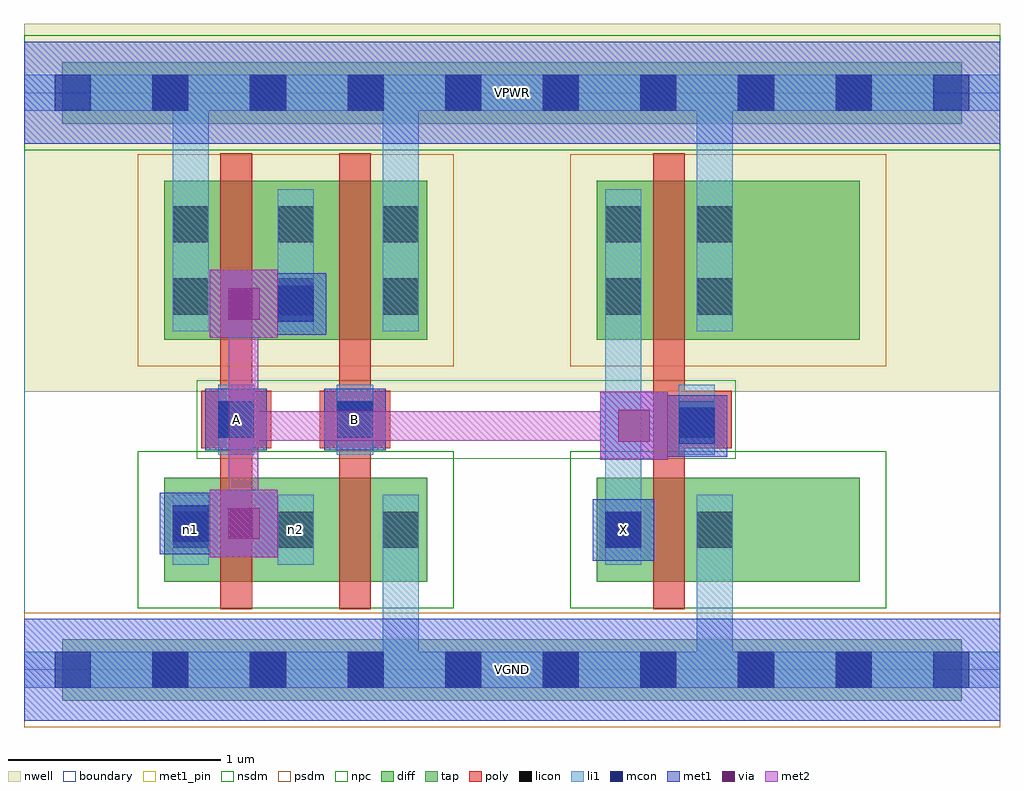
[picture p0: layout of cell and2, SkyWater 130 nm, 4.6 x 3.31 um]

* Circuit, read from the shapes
.subckt and2 A B VGND VPWR X n1 n2
XM1 n2 A n1 VGND sky130_fd_pr__nfet_01v8 w=0.49 l=0.15
XM2 VGND B n2 VGND sky130_fd_pr__nfet_01v8 w=0.49 l=0.15
XM3 VGND n1 X VGND sky130_fd_pr__nfet_01v8 w=0.49 l=0.15
XM4 n1 A VPWR VPWR sky130_fd_pr__pfet_01v8 w=0.75 l=0.15
XM5 VPWR B n1 VPWR sky130_fd_pr__pfet_01v8 w=0.75 l=0.15
XM6 VPWR n1 X VPWR sky130_fd_pr__pfet_01v8 w=0.75 l=0.15
.ends

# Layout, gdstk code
import gdstk
lib = gdstk.Library(unit=1e-6, precision=1e-09)
def R(c, l, rs):  # rectangles x0, y0, x1, y1
    for r in rs: c.add(gdstk.rectangle(r[:2], r[2:], *l))
def A(c, l, x, y, w, h, nx, ny, dx, dy):  # array of equal rectangles
    R(c, l, [(x+i*dx, y+j*dy, x+i*dx+w, y+j*dy+h) for i in range(nx) for j in range(ny)])
nwell = (64, 20)
diff = (65, 20)
tap = (65, 44)
poly = (66, 20)
licon = (66, 44)
li1 = (67, 20)
mcon = (67, 44)
met1_pin = (68, 16)
met1 = (68, 20)
via = (68, 44)
met2 = (69, 20)
nsdm = (93, 44)
psdm = (94, 20)
npc = (95, 20)
boundary = (235, 4)

and2 = lib.new_cell('and2')
R(and2, nwell, [(0,1.31,4.6,3.045)])
R(and2, diff, [(0.66,0.415,1.9,0.905), (2.7,0.415,3.94,0.905), (0.66,1.555,1.9,2.305), (2.7,1.555,3.94,2.305)])
R(and2, tap, [(0.18,-0.145,4.42,0.145), (0.18,2.575,4.42,2.865)])
R(and2, poly, [(0.925,0.285,1.075,2.435), (1.485,0.285,1.635,2.435), (2.965,0.285,3.115,2.435), (0.835,1.045,1.165,1.315), (1.395,1.045,1.725,1.315), (3.005,1.045,3.335,1.315)])
A(and2, licon, 0.605, -0.085, 0.17, 0.17, 8, 2, 0.46, 2.72)
A(and2, licon, 0.7, 0.575, 0.17, 0.17, 3, 2, 0.495, 1.1)
A(and2, licon, 0.7, 2.015, 0.17, 0.17, 3, 1, 0.495, 0)
R(and2, licon, [(2.74,0.575,2.91,0.745), (3.17,0.575,3.34,0.745), (0.915,1.095,1.085,1.265), (1.475,1.095,1.645,1.265), (3.085,1.095,3.255,1.265), (2.74,1.675,2.91,1.845), (3.17,1.675,3.34,1.845), (2.74,2.015,2.91,2.185), (3.17,2.015,3.34,2.185)])
A(and2, li1, 0.7, 0.495, 0.17, 0.33, 3, 1, 0.495, 0)
A(and2, li1, 0.7, 1.595, 0.17, 0.67, 3, 1, 0.495, 0)
R(and2, li1, [(0,-0.085,4.6,0.085), (1.69,-0.085,1.86,0.825), (3.17,-0.085,3.34,0.825), (2.74,0.495,2.91,0.825), (2.74,0.495,2.91,2.265), (3.17,0.495,3.34,0.825), (0.915,1.015,1.085,1.345), (1.475,1.015,1.645,1.345), (3.085,1.015,3.255,1.345), (0.7,1.595,0.87,2.805), (1.69,1.595,1.86,2.805), (2.74,1.595,2.91,2.265), (3.17,1.595,3.34,2.265), (3.17,1.595,3.34,2.805), (0,2.635,4.6,2.805)])
A(and2, mcon, 0.145, -0.085, 0.17, 0.17, 10, 2, 0.46, 2.72)
R(and2, mcon, [(2.74,0.575,2.91,0.745), (0.7,0.605,0.87,0.775), (3.085,1.065,3.255,1.235), (0.915,1.095,1.085,1.265), (1.475,1.095,1.645,1.265), (1.195,1.64,1.365,1.81)])
R(and2, met1_pin, [(0,-0.24,4.6,0.24), (2.68,0.515,2.97,0.805), (0.855,1.035,1.145,1.325), (1.415,1.035,1.705,1.325), (0,2.48,4.6,2.96)])
R(and2, met1, [(0,-0.24,4.6,0.24), (2.68,0.515,2.97,0.805), (0.875,0.53,1.195,0.85), (0.64,0.545,0.93,0.835), (0.715,0.62,0.99,0.76), (0.85,0.62,1.105,0.76), (2.715,0.99,3.035,1.31), (3.025,1.005,3.315,1.295), (0.855,1.035,1.145,1.325), (1.415,1.035,1.705,1.325), (2.805,1.08,3.06,1.22), (2.92,1.08,3.24,1.22), (0.875,1.565,1.195,1.885), (1.135,1.58,1.425,1.87), (0.965,1.655,1.22,1.795), (1.08,1.655,1.35,1.795), (0,2.48,4.6,2.96)])
R(and2, via, [(0.96,0.615,1.11,0.765), (2.8,1.075,2.95,1.225), (0.96,1.65,1.11,1.8)])
R(and2, met2, [(0.875,0.53,1.195,0.85), (0.965,0.62,1.105,1.795), (2.715,0.99,3.035,1.31), (0.965,1.08,2.945,1.22), (0.875,1.565,1.195,1.885)])
R(and2, nsdm, [(0.535,0.29,2.025,1.03), (2.575,0.29,4.065,1.03), (0,2.45,4.6,2.99)])
R(and2, psdm, [(0,-0.27,4.6,0.27), (0.535,1.43,2.025,2.43), (2.575,1.43,4.065,2.43)])
R(and2, npc, [(0.815,0.995,3.355,1.365)])
R(and2, boundary, [(0,0,4.6,2.72)])
and2.add(gdstk.Label('n1', (0.785,0.66), layer=67, texttype=5))
and2.add(gdstk.Label('n2', (1.28,0.66), layer=67, texttype=5))
and2.add(gdstk.Label('A', (1,1.18), layer=68, texttype=5))
and2.add(gdstk.Label('B', (1.56,1.18), layer=68, texttype=5))
and2.add(gdstk.Label('X', (2.825,0.66), layer=68, texttype=5))
and2.add(gdstk.Label('VPWR', (2.3,2.72), layer=68, texttype=5))
and2.add(gdstk.Label('VGND', (2.3,0), layer=68, texttype=5))
and2.add(gdstk.Label('A', (1,1.18), layer=68, texttype=16))
and2.add(gdstk.Label('B', (1.56,1.18), layer=68, texttype=16))
and2.add(gdstk.Label('X', (2.825,0.66), layer=68, texttype=16))
and2.add(gdstk.Label('VPWR', (2.3,2.72), layer=68, texttype=16))
and2.add(gdstk.Label('VGND', (2.3,0), layer=68, texttype=16))

lib.write_gds('and2.gds')
